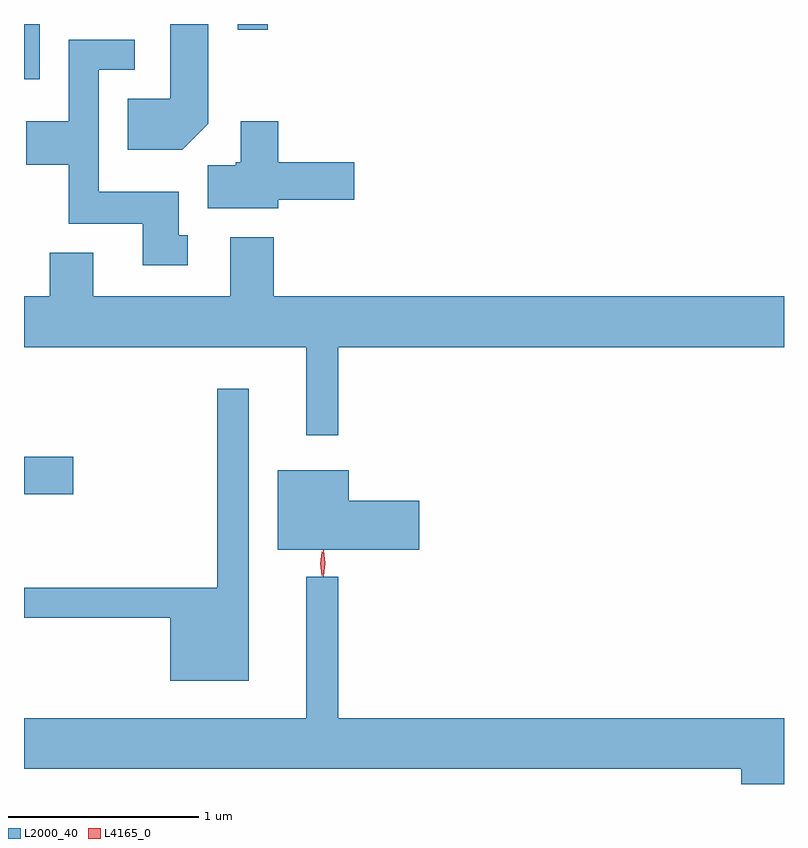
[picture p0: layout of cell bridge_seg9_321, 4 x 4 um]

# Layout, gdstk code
import gdstk
lib = gdstk.Library(unit=1e-6, precision=1e-09)
def R(c, l, rs):  # rectangles x0, y0, x1, y1
    for r in rs: c.add(gdstk.rectangle(r[:2], r[2:], *l))
def P(c, l, *ps):  # polygons
    for p in ps: c.add(gdstk.Polygon(p, *l))
L2000_40 = (2000, 40)
L4165_0 = (4165, 0)

bridge_seg9_321 = lib.new_cell('bridge_seg9_321')
R(bridge_seg9_321, L2000_40, [(658.155,2048.761,658.414,2048.959), (658.155,2050.946,658.239,2051.237), (659.281,2051.208,659.439,2051.237)])
P(bridge_seg9_321, L2000_40, [(659.124,2050.713),(659.124,2051.237),(658.926,2051.237),(658.926,2050.844),(658.701,2050.844),(658.701,2050.576),(658.987,2050.576)],
  [(659.018,2050.124),(658.969,2050.124),(658.969,2050.354),(658.549,2050.354),(658.549,2050.996),(658.738,2050.996),(658.738,2051.154),(658.391,2051.154),(658.391,2050.724),(658.166,2050.724),(658.166,2050.496),(658.391,2050.496),(658.391,2050.186),(658.781,2050.186),(658.781,2049.966),(659.018,2049.966)],
  [(659.494,2050.311),(659.894,2050.311),(659.894,2050.509),(659.494,2050.509),(659.494,2050.724),(659.296,2050.724),(659.296,2050.509),(659.27,2050.509),(659.27,2050.494),(659.121,2050.494),(659.121,2050.266),(659.494,2050.266)],
  [(659.809,2049.536),(662.155,2049.536),(662.155,2049.804),(659.469,2049.804),(659.469,2050.114),(659.241,2050.114),(659.241,2049.804),(658.519,2049.804),(658.519,2050.034),(658.291,2050.034),(658.291,2049.804),(658.155,2049.804),(658.155,2049.536),(659.641,2049.536),(659.641,2049.073),(659.809,2049.073)],
  [(659.339,2049.318),(659.171,2049.318),(659.171,2048.269),(658.155,2048.269),(658.155,2048.111),(658.926,2048.111),(658.926,2047.781),(659.339,2047.781)],
  [(660.234,2048.729),(659.864,2048.729),(659.864,2048.889),(659.491,2048.889),(659.491,2048.471),(660.234,2048.471)],
  [(662.155,2047.584),(659.809,2047.584),(659.809,2048.327),(659.641,2048.327),(659.641,2047.584),(658.155,2047.584),(658.155,2047.316),(661.931,2047.316),(661.931,2047.237),(662.155,2047.237)])
P(bridge_seg9_321, L4165_0, [(659.731,2048.33),(659.731,2048.33),(659.721,2048.398),(659.731,2048.466),(659.731,2048.466),(659.732,2048.466),(659.741,2048.398),(659.732,2048.33)],
  [(659.723,2048.333),(659.723,2048.334),(659.713,2048.396),(659.723,2048.459),(659.723,2048.46),(659.724,2048.459),(659.733,2048.396),(659.724,2048.334)])

lib.write_gds('bridge_seg9_321.gds')
